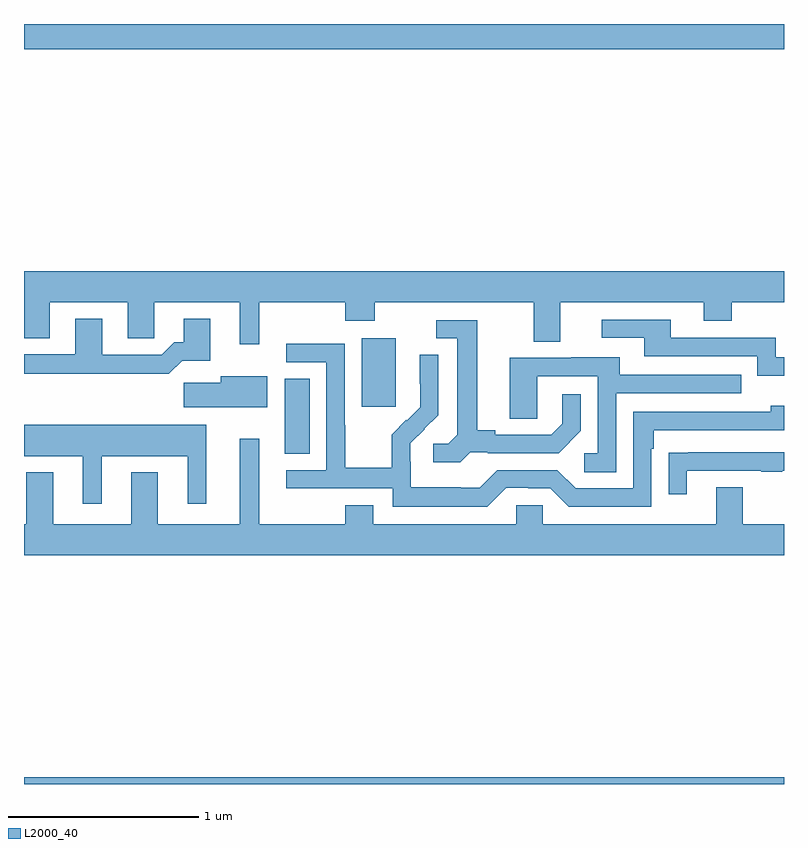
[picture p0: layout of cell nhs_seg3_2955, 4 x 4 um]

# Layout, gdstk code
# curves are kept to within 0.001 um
import gdstk
lib = gdstk.Library(unit=1e-6, precision=1e-09)
def R(c, l, rs):  # rectangles x0, y0, x1, y1
    for r in rs: c.add(gdstk.rectangle(r[:2], r[2:], *l))
def P(c, l, *ps):  # polygons
    for p in ps: c.add(gdstk.Polygon(p, *l))
L2000_40 = (2000, 40)

nhs_seg3_2955 = lib.new_cell('nhs_seg3_2955')
R(nhs_seg3_2955, L2000_40, [(265,678.4,269,678.436), (266.372,680.137,266.503,680.534), (266.777,680.385,266.956,680.746), (265,682.268,269,682.4)])
P(nhs_seg3_2955, L2000_40, [(266.239,680.936),(266.692,680.936),(266.692,680.837),(266.847,680.837),(266.847,680.936),(267.683,680.936),(267.683,680.728),(267.823,680.728),(267.823,680.936),(268.577,680.936),(268.577,680.837),(268.725,680.837),(268.725,680.936),(269,680.936),(269,681.1),(265,681.1),(265,680.746),(265.135,680.746),(265.135,680.936),(265.547,680.936),(265.547,680.746),(265.686,680.746),(265.686,680.936),(266.135,680.936),(266.135,680.715),(266.239,680.715)],
  [(265.832,680.627),(265.981,680.627),(265.981,680.848),(265.841,680.848),(265.841,680.725),(265.792,680.725),(265.725,680.658),(265.411,680.658),(265.411,680.848),(265.271,680.848),(265.271,680.661),(265,680.661),(265,680.56),(265.507,680.56),(265.507,680.558),(265.763,680.558)],
  [(269,680.646),(268.956,680.646),(268.956,680.748),(268.405,680.748),(268.405,680.844),(268.041,680.844),(268.041,680.748),(268.265,680.748),(268.265,680.652),(268.86,680.652),(268.86,680.549),(269,680.549)],
  [(267.348,680.145),(267.442,680.145),(267.442,680.142),(267.814,680.142),(267.93,680.258),(267.93,680.452),(267.833,680.452),(267.833,680.295),(267.776,680.238),(267.481,680.238),(267.481,680.261),(267.385,680.261),(267.385,680.841),(267.171,680.841),(267.171,680.745),(267.281,680.745),(267.281,680.237),(267.234,680.19),(267.153,680.19),(267.153,680.093),(267.296,680.093)],
  [(267.537,679.959),(267.653,679.959),(267.653,679.956),(267.771,679.956),(267.867,679.86),(268.302,679.86),(268.302,680.165),(268.315,680.165),(268.315,680.262),(269,680.262),(269,680.392),(268.931,680.392),(268.931,680.358),(268.206,680.358),(268.206,679.956),(267.903,679.956),(267.807,680.052),(267.492,680.052),(267.399,679.959),(267.299,679.959),(267.299,679.963),(267.036,679.963),(267.036,680.097),(267.034,680.097),(267.034,680.194),(267.18,680.342),(267.18,680.66),(267.084,680.66),(267.084,680.506),(267.086,680.506),(267.086,680.384),(267.015,680.313),(267.012,680.316),(266.935,680.239),(266.935,680.065),(266.691,680.065),(266.691,680.288),(266.688,680.288),(266.688,680.718),(266.379,680.718),(266.379,680.619),(266.592,680.619),(266.592,680.052),(266.379,680.052),(266.379,679.956),(266.94,679.956),(266.94,679.859),(267.437,679.859)],
  [(268.116,680.457),(268.775,680.457),(268.775,680.553),(268.135,680.553),(268.135,680.647),(267.881,680.647),(267.881,680.643),(267.557,680.643),(267.557,680.323),(267.702,680.323),(267.702,680.547),(268.02,680.547),(268.02,680.142),(267.948,680.142),(267.948,680.041),(268.116,680.041)],
  [(266.281,680.545),(266.036,680.545),(266.036,680.513),(265.842,680.513),(265.842,680.384),(266.281,680.384)],
  [(265.408,680.126),(265.862,680.126),(265.862,679.875),(265.96,679.875),(265.96,680.29),(265,680.29),(265,680.126),(265.31,680.126),(265.31,679.875),(265.408,679.875)],
  [(269,679.768),(268.783,679.768),(268.783,679.963),(268.643,679.963),(268.643,679.768),(267.729,679.768),(267.729,679.866),(267.591,679.866),(267.591,679.768),(266.839,679.768),(266.839,679.867),(266.692,679.867),(266.692,679.768),(266.239,679.768),(266.239,680.218),(266.135,680.218),(266.135,679.768),(265.705,679.768),(265.705,680.041),(265.565,680.041),(265.565,679.768),(265.153,679.768),(265.153,680.041),(265.013,680.041),(265.013,679.768),(265,679.768),(265,679.604),(269,679.604)],
  [(268.489,680.049),(268.879,680.049),(268.879,680.044),(268.991,680.044),(268.991,680.049),(269,680.049),(269,680.145),(268.495,680.145),(268.495,680.144),(268.393,680.144),(268.393,679.926),(268.489,679.926)])

lib.write_gds('nhs_seg3_2955.gds')
